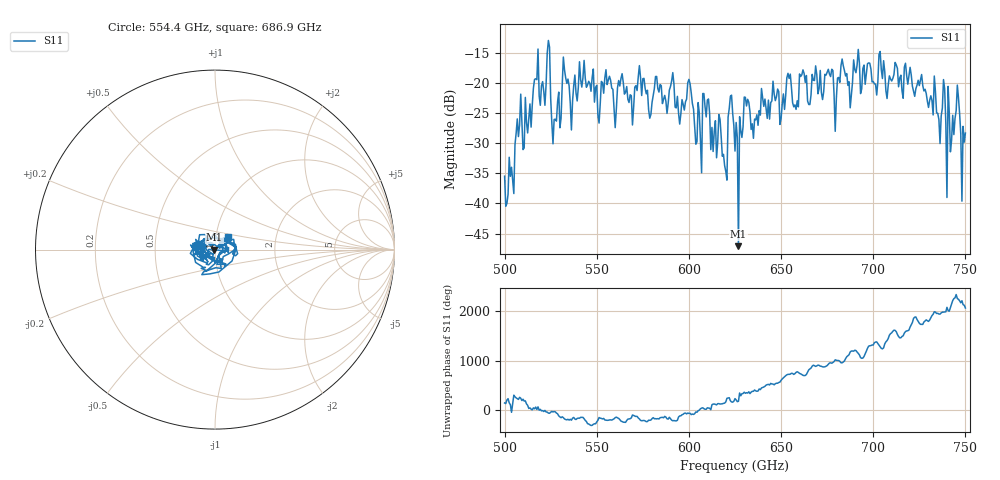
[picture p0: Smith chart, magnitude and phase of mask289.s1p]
!Created with skrf (http://scikit-rf.org).
# GHz S MA R 50.0
!freq magS11 angS11
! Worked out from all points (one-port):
!   401 points, 500 GHz to 750 GHz, reference 50 ohm
!   lowest |S11| = -47.1 dB at 626.9 GHz (marker M1), VSWR 1.01, Z = 49.6 - j0.0411 ohm
!   |S11| at or under -10 dB: start of sweep to end of sweep
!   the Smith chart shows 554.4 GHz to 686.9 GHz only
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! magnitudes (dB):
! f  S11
! 500 GHz  -35.5
! 516.9 GHz  -19.3
! 520.6 GHz  -19.8
! 523.8 GHz  -13.0
! 526.9 GHz  -26.1
! 531.2 GHz  -20.4
! 560 GHz  -27.4
! 562.5 GHz  -20.5
! 579.4 GHz  -25.2
! 590.6 GHz  -19.7
! 593.8 GHz  -22.2
! 600.6 GHz  -20.1
! 605.6 GHz  -25.0
! 609.4 GHz  -25.6
! 619.4 GHz  -33.7
! 622.5 GHz  -22.2
! 625 GHz  -31.3
! 626.9 GHz  -47.1
! 631.2 GHz  -23.8
! 635 GHz  -29.2
! 656.2 GHz  -23.3
! 676.9 GHz  -19.0
! 680 GHz  -22.5
! 683.8 GHz  -17.2
! 687.5 GHz  -24.1
! 690.6 GHz  -18.3
! 718.8 GHz  -20.2
! 750 GHz  -28.3
